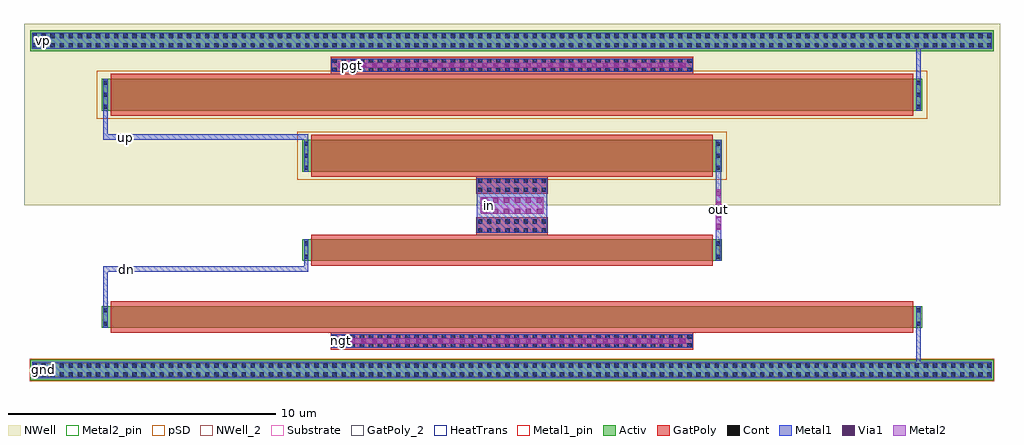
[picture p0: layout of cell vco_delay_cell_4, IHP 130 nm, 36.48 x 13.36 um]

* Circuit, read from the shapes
.subckt vco_delay_cell_4 dn gnd in ngt out pgt up vp
XM1 gnd ngt dn gnd sg13_lv_nmos w=0.8u l=30u
XM2 out in dn gnd sg13_lv_nmos w=0.8u l=15u
XM3 vp pgt up vp sg13_lv_pmos w=1.2u l=30u
XM4 out in up vp sg13_lv_pmos w=1.2u l=15u
.ends

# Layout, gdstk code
import gdstk
lib = gdstk.Library(unit=1e-6, precision=1e-09)
def R(c, l, rs):  # rectangles x0, y0, x1, y1
    for r in rs: c.add(gdstk.rectangle(r[:2], r[2:], *l))
def A(c, l, x, y, w, h, nx, ny, dx, dy):  # array of equal rectangles
    R(c, l, [(x+i*dx, y+j*dy, x+i*dx+w, y+j*dy+h) for i in range(nx) for j in range(ny)])
Activ = (1, 0)
GatPoly = (5, 0)
GatPoly_2 = (5, 2)
Cont = (6, 0)
Metal1 = (8, 0)
Metal1_pin = (8, 2)
Metal2 = (10, 0)
Metal2_pin = (10, 2)
pSD = (14, 0)
Via1 = (19, 0)
NWell = (31, 0)
NWell_2 = (31, 2)
Substrate = (40, 0)
HeatTrans = (51, 0)

via_6 = lib.new_cell('Via$6')
R(via_6, Metal1, [(-0.105,-0.76,0.105,0.76)])
R(via_6, Metal2, [(-0.1,-0.76,0.1,0.76)])
A(via_6, Via1, -0.095, -0.71, 0.19, 0.19, 1, 4, 0, 0.41)

pmos_2 = lib.new_cell('pmos$2')
R(pmos_2, Activ, [(0,0,0.3,0.3), (0,0,15.68,1.2), (15.38,0,15.68,0.3)])
R(pmos_2, GatPoly, [(0.34,-0.18,15.34,1.38), (0.34,-0.18,15.34,1.38)])
A(pmos_2, Cont, 0.07, 0.07, 0.16, 0.16, 1, 3, 0, 0.45)
A(pmos_2, Cont, 15.45, 0.07, 0.16, 0.16, 1, 3, 0, 0.45)
R(pmos_2, Metal1, [(0.07,0,0.23,1.2), (0.07,0,0.23,1.2), (15.45,0,15.61,1.2), (15.45,0,15.61,1.2)])
R(pmos_2, pSD, [(-0.18,-0.3,15.86,1.5)])
R(pmos_2, NWell, [(-0.31,-0.31,15.99,1.51)])
R(pmos_2, HeatTrans, [(0.34,-0.18,15.34,1.38)])
pmos_2.add(gdstk.Label('pmos', (7.84,0.6), layer=63, texttype=0))
pmos_2.add(gdstk.Label('pmos', (7.84,0.6), layer=51, texttype=0))

via = lib.new_cell('Via')
R(via, GatPoly, [(-6.78,-0.32,6.78,0.32)])
A(via, Cont, -6.71, -0.25, 0.16, 0.16, 40, 2, 0.34, 0.34)
R(via, Metal1, [(-6.76,-0.25,6.76,0.25)])

nmos_1 = lib.new_cell('nmos$1')
R(nmos_1, Activ, [(0,0,0.3,0.3), (0,0,30.68,0.8), (30.38,0,30.68,0.3)])
R(nmos_1, GatPoly, [(0.34,-0.18,30.34,0.98)])
R(nmos_1, GatPoly_2, [(0.34,-0.18,30.34,0.98)])
R(nmos_1, Cont, [(0.07,0.07,0.23,0.23), (30.45,0.07,30.61,0.23), (0.07,0.57,0.23,0.73), (30.45,0.57,30.61,0.73)])
R(nmos_1, Metal1, [(0.07,0,0.23,0.8), (30.45,0,30.61,0.8)])
R(nmos_1, Metal1_pin, [(0.07,0,0.23,0.8), (30.45,0,30.61,0.8)])
R(nmos_1, HeatTrans, [(0.34,-0.18,30.34,0.98)])
nmos_1.add(gdstk.Label('nmos', (15.34,0.4), layer=63, texttype=0))
nmos_1.add(gdstk.Label('nmos', (15.34,0.4), layer=51, texttype=0))

via_5 = lib.new_cell('Via$5')
R(via_5, Metal1, [(-1.17,-0.31,1.17,0.31)])
R(via_5, Metal2, [(-1.17,-0.305,1.17,0.305)])
A(via_5, Via1, -1.12, -0.3, 0.19, 0.19, 6, 2, 0.41, 0.41)

via_2 = lib.new_cell('Via$2')
R(via_2, GatPoly, [(-1.34,-0.32,1.34,0.32)])
A(via_2, Cont, -1.27, -0.25, 0.16, 0.16, 8, 2, 0.34, 0.34)
R(via_2, Metal1, [(-1.32,-0.25,1.32,0.25)])

ntap1 = lib.new_cell('ntap1')
R(ntap1, Activ, [(0,0,36,0.78)])
A(ntap1, Cont, 0.07, 0.14, 0.16, 0.16, 106, 2, 0.34, 0.34)
R(ntap1, Metal1, [(0.07,0.09,35.93,0.69)])
R(ntap1, Metal1_pin, [(0.07,0.09,35.93,0.69), (0.07,0.14,35.93,0.64)])
R(ntap1, NWell, [(-0.24,-0.24,36.24,1.02), (0,0,36,0.78)])
R(ntap1, NWell_2, [(0,0,36,0.78)])
ntap1.add(gdstk.Label('well', (18,0.01), layer=63, texttype=0))
ntap1.add(gdstk.Label('well', (18,0.01), layer=31, texttype=0))

ptap1 = lib.new_cell('ptap1')
R(ptap1, Activ, [(0,0,36,0.78)])
A(ptap1, Cont, 0.07, 0.14, 0.16, 0.16, 106, 2, 0.34, 0.34)
R(ptap1, Metal1, [(0.07,0.09,35.93,0.69), (0.07,0.14,35.93,0.64)])
R(ptap1, Metal1_pin, [(0.07,0.14,35.93,0.64)])
R(ptap1, pSD, [(-0.03,-0.03,36.03,0.81)])
R(ptap1, Substrate, [(0,0,36,0.78)])
ptap1.add(gdstk.Label('sub!', (18,0.01), layer=63, texttype=0))
ptap1.add(gdstk.Label('sub!', (18,0.01), layer=40, texttype=0))

via_4 = lib.new_cell('Via$4')
R(via_4, Metal1, [(-6.5,-0.105,6.5,0.105)])
R(via_4, Metal2, [(-6.5,-0.1,6.5,0.1)])
A(via_4, Via1, -6.45, -0.095, 0.19, 0.19, 32, 1, 0.41, 0)

nmos = lib.new_cell('nmos')
R(nmos, Activ, [(0,0,0.3,0.3), (0,0,15.68,0.8), (15.38,0,15.68,0.3)])
R(nmos, GatPoly, [(0.34,-0.18,15.34,0.98)])
R(nmos, GatPoly_2, [(0.34,-0.18,15.34,0.98)])
R(nmos, Cont, [(0.07,0.07,0.23,0.23), (15.45,0.07,15.61,0.23), (0.07,0.57,0.23,0.73), (15.45,0.57,15.61,0.73)])
R(nmos, Metal1, [(0.07,0,0.23,0.8), (15.45,0,15.61,0.8)])
R(nmos, Metal1_pin, [(0.07,0,0.23,0.8), (15.45,0,15.61,0.8)])
R(nmos, HeatTrans, [(0.34,-0.18,15.34,0.98)])
nmos.add(gdstk.Label('nmos', (7.84,0.4), layer=63, texttype=0))
nmos.add(gdstk.Label('nmos', (7.84,0.4), layer=51, texttype=0))

pmos = lib.new_cell('pmos')
R(pmos, Activ, [(0,0,0.3,0.3), (0,0,30.68,1.2), (30.38,0,30.68,0.3)])
R(pmos, GatPoly, [(0.34,-0.18,30.34,1.38), (0.34,-0.18,30.34,1.38)])
A(pmos, Cont, 0.07, 0.07, 0.16, 0.16, 1, 3, 0, 0.45)
A(pmos, Cont, 30.45, 0.07, 0.16, 0.16, 1, 3, 0, 0.45)
R(pmos, Metal1, [(0.07,0,0.23,1.2), (0.07,0,0.23,1.2), (30.45,0,30.61,1.2), (30.45,0,30.61,1.2)])
R(pmos, pSD, [(-0.18,-0.3,30.86,1.5)])
R(pmos, NWell, [(-0.31,-0.31,30.99,1.51)])
R(pmos, HeatTrans, [(0.34,-0.18,30.34,1.38)])
pmos.add(gdstk.Label('pmos', (15.34,0.6), layer=63, texttype=0))
pmos.add(gdstk.Label('pmos', (15.34,0.6), layer=51, texttype=0))

vco_delay_cell_4 = lib.new_cell('vco_delay_cell_4')
R(vco_delay_cell_4, Metal1, [(21.34,-3.035,21.5,-1.755), (-9.04,-0.955,-8.88,0.345), (-9.04,0.345,-1.38,0.545), (-1.54,0.545,-1.38,0.745), (14,0.745,14.05,1.9), (13.84,1.545,14,4.075), (4.91,2.295,7.55,3.325), (14,3.42,14.05,5.275), (-9.04,5.275,-8.88,6.355), (-8.88,5.275,-1.38,5.475), (21.34,7.555,21.5,8.675)])
R(vco_delay_cell_4, Metal1_pin, [(-11.35,-3.4,-11.22,-3.27), (-11.345,8.91,-11.215,9.04)])
R(vco_delay_cell_4, Metal2_pin, [(-0.195,-2.315,-0.065,-2.185), (13.88,2.6,14.01,2.73), (5.345,2.75,5.475,2.88), (0.22,7.99,0.35,8.12)])
R(vco_delay_cell_4, NWell, [(-12.01,2.815,24.47,9.605)])
vco_delay_cell_4.add(gdstk.Reference(via_6, (13.945,2.66)))
vco_delay_cell_4.add(gdstk.Reference(pmos_2, (-1.61,4.075)))
vco_delay_cell_4.add(gdstk.Reference(via, (6.23,8.055)))
vco_delay_cell_4.add(gdstk.Reference(nmos_1, (-9.11,-1.755)))
vco_delay_cell_4.add(gdstk.Reference(via, (6.23,-2.255)))
vco_delay_cell_4.add(gdstk.Reference(via_5, (6.23,2.81)))
vco_delay_cell_4.add(gdstk.Reference(via_2, (6.23,2.045)))
vco_delay_cell_4.add(gdstk.Reference(via_2, (6.23,3.575)))
vco_delay_cell_4.add(gdstk.Reference(ntap1, (-11.77,8.585)))
vco_delay_cell_4.add(gdstk.Reference(ptap1, (-11.77,-3.725)))
vco_delay_cell_4.add(gdstk.Reference(via_4, (6.23,-2.255)))
vco_delay_cell_4.add(gdstk.Reference(via_4, (6.23,8.055)))
vco_delay_cell_4.add(gdstk.Reference(nmos, (-1.61,0.745)))
vco_delay_cell_4.add(gdstk.Reference(pmos, (-9.11,6.355)))
vco_delay_cell_4.add(gdstk.Label('up', (-8.215,5.36), layer=8, texttype=25))
vco_delay_cell_4.add(gdstk.Label('dn', (-8.165,0.415), layer=8, texttype=25))
vco_delay_cell_4.add(gdstk.Label('vp', (-11.28,8.975), layer=8, texttype=25))
vco_delay_cell_4.add(gdstk.Label('gnd', (-11.285,-3.335), layer=8, texttype=25))
vco_delay_cell_4.add(gdstk.Label('out', (13.945,2.665), layer=10, texttype=25))
vco_delay_cell_4.add(gdstk.Label('in', (5.4,2.815), layer=10, texttype=25))
vco_delay_cell_4.add(gdstk.Label('pgt', (0.285,8.055), layer=10, texttype=25))
vco_delay_cell_4.add(gdstk.Label('ngt', (-0.13,-2.25), layer=10, texttype=25))

lib.write_gds('vco_delay_cell_4.gds')
